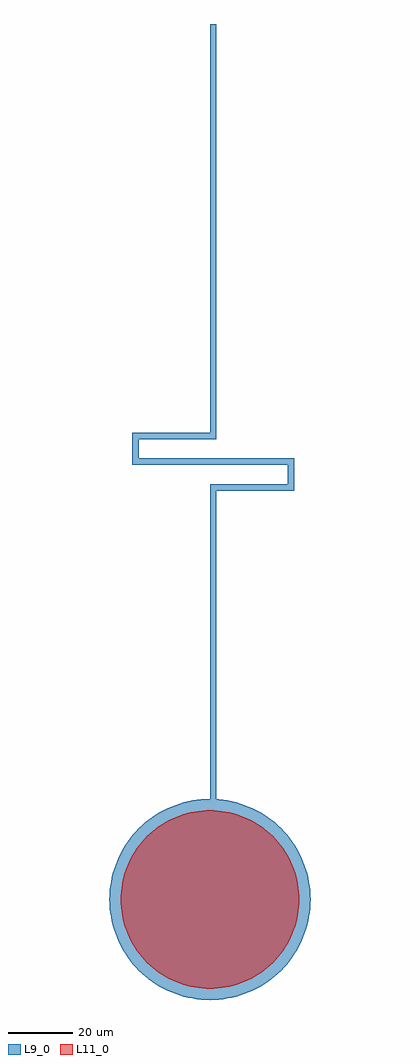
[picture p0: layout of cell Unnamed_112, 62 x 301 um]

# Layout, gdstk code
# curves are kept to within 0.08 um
import gdstk
lib = gdstk.Library(unit=1e-6, precision=1e-09)
def R(c, l, rs):  # rectangles x0, y0, x1, y1
    for r in rs: c.add(gdstk.rectangle(r[:2], r[2:], *l))
def P(c, l, *ps):  # polygons
    for p in ps: c.add(gdstk.Polygon(p, *l))
L9_0 = (9, 0)
L11_0 = (11, 0)

circle_r27p5_ar2p5_l11_0 = lib.new_cell('circle_R27p5_AR2p5_L11_0')
P(circle_r27p5_ar2p5_l11_0, L11_0, [(0,-27.5),(-3.589,-27.265),(-5.952,-26.848),(-8.269,-26.227),(-10.524,-25.407),(-13.75,-23.816),(-15.773,-22.527),(-17.677,-21.066),(-19.445,-19.445),(-21.066,-17.677),(-22.527,-15.773),(-23.816,-13.75),(-25.407,-10.524),(-26.227,-8.269),(-26.848,-5.952),(-27.265,-3.589),(-27.5,0),(-27.265,3.589),(-26.848,5.952),(-26.227,8.269),(-25.407,10.524),(-23.816,13.75),(-22.527,15.773),(-21.066,17.677),(-19.445,19.445),(-17.677,21.066),(-15.773,22.527),(-13.75,23.816),(-10.524,25.407),(-8.269,26.227),(-5.952,26.848),(-3.589,27.265),(0,27.5),(3.589,27.265),(5.952,26.848),(8.269,26.227),(10.524,25.407),(13.75,23.816),(15.773,22.527),(17.677,21.066),(19.445,19.445),(21.066,17.677),(22.527,15.773),(23.816,13.75),(25.407,10.524),(26.227,8.269),(26.848,5.952),(27.265,3.589),(27.5,0),(27.265,-3.589),(26.848,-5.952),(26.227,-8.269),(25.407,-10.524),(23.816,-13.75),(22.527,-15.773),(21.066,-17.677),(19.445,-19.445),(17.677,-21.066),(15.773,-22.527),(13.75,-23.816),(10.524,-25.407),(8.269,-26.227),(5.952,-26.848),(3.589,-27.265)])

circle_r31_ar2p5_l9_0 = lib.new_cell('circle_R31_AR2p5_L9_0')
P(circle_r31_ar2p5_l9_0, L9_0, [(0,-31),(-2.702,-30.882),(-5.383,-30.529),(-8.023,-29.944),(-11.863,-28.64),(-15.5,-26.847),(-17.781,-25.394),(-19.926,-23.747),(-21.92,-21.92),(-23.747,-19.926),(-25.394,-17.781),(-26.847,-15.5),(-28.64,-11.863),(-29.944,-8.023),(-30.529,-5.383),(-30.882,-2.702),(-31,0),(-30.882,2.702),(-30.529,5.383),(-29.944,8.023),(-28.64,11.863),(-26.847,15.5),(-25.394,17.781),(-23.747,19.926),(-21.92,21.92),(-19.926,23.747),(-17.781,25.394),(-15.5,26.847),(-11.863,28.64),(-8.023,29.944),(-5.383,30.529),(-2.702,30.882),(0,31),(2.702,30.882),(5.383,30.529),(8.023,29.944),(11.863,28.64),(15.5,26.847),(17.781,25.394),(19.926,23.747),(21.92,21.92),(23.747,19.926),(25.394,17.781),(26.847,15.5),(28.64,11.863),(29.944,8.023),(30.529,5.383),(30.882,2.702),(31,0),(30.882,-2.702),(30.529,-5.383),(29.944,-8.023),(28.64,-11.863),(26.847,-15.5),(25.394,-17.781),(23.747,-19.926),(21.92,-21.92),(19.926,-23.747),(17.781,-25.394),(15.5,-26.847),(11.863,-28.64),(8.023,-29.944),(5.383,-30.529),(2.702,-30.882)])

rectangle_s50_2_l9_0_cf_ = lib.new_cell('rectangle_S50_2_L9_0_CF_7b202ac9')
R(rectangle_s50_2_l9_0_cf_, L9_0, [(0,0,50,2)])

rectangle_s2_6_l9_0_cfa_ = lib.new_cell('rectangle_S2_6_L9_0_CFa_6e69fcce')
R(rectangle_s2_6_l9_0_cfa_, L9_0, [(0,0,2,6)])

rectangle_s26_2_l9_0_cf_ = lib.new_cell('rectangle_S26_2_L9_0_CF_7241b5a4')
R(rectangle_s26_2_l9_0_cf_, L9_0, [(0,0,26,2)])

rectangle_s2_126_l9_0_c_ = lib.new_cell('rectangle_S2_126_L9_0_C_b187a1dd')
R(rectangle_s2_126_l9_0_c_, L9_0, [(0,0,2,126)])

unnamed_113 = lib.new_cell('Unnamed_113')
unnamed_113.add(gdstk.Reference(rectangle_s50_2_l9_0_cf_, (-24,134)))
unnamed_113.add(gdstk.Reference(rectangle_s2_6_l9_0_cfa_, (24,128)))
unnamed_113.add(gdstk.Reference(rectangle_s2_6_l9_0_cfa_, (-24,136)))
unnamed_113.add(gdstk.Reference(rectangle_s26_2_l9_0_cf_, (0,126)))
unnamed_113.add(gdstk.Reference(rectangle_s26_2_l9_0_cf_, (-24,142)))
unnamed_113.add(gdstk.Reference(rectangle_s2_126_l9_0_c_, (0,0)))
unnamed_113.add(gdstk.Reference(rectangle_s2_126_l9_0_c_, (0,144)))

unnamed_112 = lib.new_cell('Unnamed_112')
unnamed_112.add(gdstk.Reference(circle_r27p5_ar2p5_l11_0, (0,0)))
unnamed_112.add(gdstk.Reference(circle_r31_ar2p5_l9_0, (0,0)))
unnamed_112.add(gdstk.Reference(unnamed_113, (0,0)))

lib.write_gds('Unnamed_112.gds')
